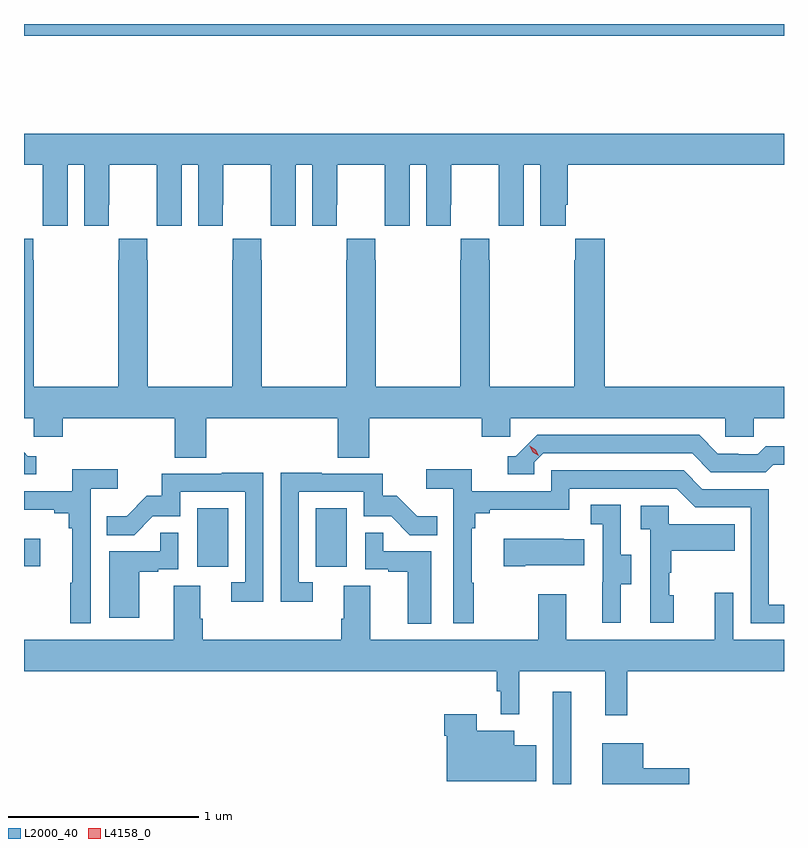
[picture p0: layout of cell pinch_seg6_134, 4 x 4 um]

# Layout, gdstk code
import gdstk
lib = gdstk.Library(unit=1e-6, precision=1e-09)
def R(c, l, rs):  # rectangles x0, y0, x1, y1
    for r in rs: c.add(gdstk.rectangle(r[:2], r[2:], *l))
def P(c, l, *ps):  # polygons
    for p in ps: c.add(gdstk.Polygon(p, *l))
L2000_40 = (2000, 40)
L4158_0 = (4158, 0)

pinch_seg6_134 = lib.new_cell('pinch_seg6_134')
R(pinch_seg6_134, L2000_40, [(953.559,930.758,953.656,931.243), (951.686,931.902,951.85,932.209), (952.31,931.902,952.474,932.209), (950.775,931.903,950.86,932.05), (950.775,934.696,954.775,934.758)])
P(pinch_seg6_134, L2000_40, [(950.775,934.016),(950.873,934.016),(950.873,933.808),(950.874,933.808),(950.874,933.696),(951.004,933.696),(951.004,934.016),(951.092,934.016),(951.092,933.696),(951.222,933.696),(951.222,933.808),(951.223,933.808),(951.223,934.016),(951.473,934.016),(951.473,933.808),(951.474,933.808),(951.474,933.696),(951.604,933.696),(951.604,934.016),(951.692,934.016),(951.692,933.696),(951.822,933.696),(951.822,933.808),(951.823,933.808),(951.823,934.016),(952.073,934.016),(952.073,933.808),(952.074,933.808),(952.074,933.696),(952.204,933.696),(952.204,934.016),(952.292,934.016),(952.292,933.696),(952.422,933.696),(952.422,933.808),(952.423,933.808),(952.423,934.016),(952.673,934.016),(952.673,933.808),(952.674,933.808),(952.674,933.696),(952.804,933.696),(952.804,934.016),(952.892,934.016),(952.892,933.696),(953.022,933.696),(953.022,933.808),(953.023,933.808),(953.023,934.016),(953.273,934.016),(953.273,933.808),(953.274,933.808),(953.274,933.696),(953.404,933.696),(953.404,934.016),(953.492,934.016),(953.492,933.696),(953.626,933.696),(953.626,933.808),(953.636,933.808),(953.636,934.016),(954.775,934.016),(954.775,934.18),(950.775,934.18)],
  [(951.734,932.684),(952.427,932.684),(952.427,932.476),(952.592,932.476),(952.592,932.684),(953.183,932.684),(953.183,932.586),(953.334,932.586),(953.334,932.684),(954.465,932.684),(954.465,932.586),(954.615,932.586),(954.615,932.684),(954.775,932.684),(954.775,932.848),(953.831,932.848),(953.831,933.628),(953.677,933.628),(953.677,933.515),(953.671,933.515),(953.671,932.848),(953.226,932.848),(953.226,933.515),(953.223,933.515),(953.223,933.628),(953.073,933.628),(953.073,933.515),(953.071,933.515),(953.071,932.848),(952.626,932.848),(952.626,933.515),(952.623,933.515),(952.623,933.628),(952.473,933.628),(952.473,933.515),(952.471,933.515),(952.471,932.848),(952.026,932.848),(952.026,933.515),(952.023,933.515),(952.023,933.628),(951.873,933.628),(951.873,933.515),(951.871,933.515),(951.871,932.848),(951.426,932.848),(951.426,933.515),(951.423,933.515),(951.423,933.628),(951.273,933.628),(951.273,933.515),(951.271,933.515),(951.271,932.848),(950.826,932.848),(950.826,933.515),(950.823,933.515),(950.823,933.628),(950.775,933.628),(950.775,932.684),(950.826,932.684),(950.826,932.586),(950.978,932.586),(950.978,932.684),(951.569,932.684),(951.569,932.476),(951.734,932.476)],
  [(953.46,932.451),(953.508,932.499),(954.291,932.499),(954.39,932.4),(954.679,932.4),(954.718,932.439),(954.775,932.439),(954.775,932.536),(954.679,932.536),(954.637,932.493),(954.534,932.493),(954.534,932.496),(954.427,932.496),(954.328,932.595),(953.475,932.595),(953.364,932.484),(953.321,932.484),(953.321,932.388),(953.46,932.388)],
  [(950.839,932.484),(950.796,932.484),(950.775,932.505),(950.775,932.388),(950.839,932.388)],
  [(953.143,931.817),(953.131,931.817),(953.131,932.105),(953.15,932.105),(953.15,932.182),(953.227,932.182),(953.227,932.201),(953.646,932.201),(953.646,932.313),(954.21,932.313),(954.309,932.214),(954.6,932.214),(954.6,931.605),(954.775,931.605),(954.775,931.701),(954.696,931.701),(954.696,932.31),(954.346,932.31),(954.247,932.409),(953.55,932.409),(953.55,932.298),(953.132,932.298),(953.132,932.414),(952.893,932.414),(952.893,932.312),(953.034,932.312),(953.034,931.605),(953.143,931.605)],
  [(951.126,932.312),(951.268,932.312),(951.268,932.414),(951.029,932.414),(951.029,932.298),(950.775,932.298),(950.775,932.201),(950.933,932.201),(950.933,932.182),(951.01,932.182),(951.01,932.105),(951.029,932.105),(951.029,931.817),(951.018,931.817),(951.018,931.605),(951.126,931.605)],
  [(952.035,932.396),(951.817,932.396),(951.817,932.391),(951.499,932.391),(951.499,932.274),(951.422,932.274),(951.315,932.167),(951.211,932.167),(951.211,932.068),(951.355,932.068),(951.453,932.166),(951.597,932.166),(951.597,932.295),(951.939,932.295),(951.939,931.821),(951.867,931.821),(951.867,931.716),(952.035,931.716)],
  [(952.294,931.821),(952.221,931.821),(952.221,932.295),(952.563,932.295),(952.563,932.166),(952.708,932.166),(952.806,932.068),(952.949,932.068),(952.949,932.167),(952.845,932.167),(952.738,932.274),(952.662,932.274),(952.662,932.391),(952.343,932.391),(952.343,932.396),(952.125,932.396),(952.125,931.716),(952.294,931.716)],
  [(953.917,931.81),(953.971,931.81),(953.971,931.965),(953.916,931.965),(953.916,932.228),(953.757,932.228),(953.757,932.125),(953.82,932.125),(953.82,931.821),(953.819,931.821),(953.819,931.608),(953.917,931.608)],
  [(954.196,931.752),(954.171,931.752),(954.171,931.871),(954.181,931.871),(954.181,931.985),(954.515,931.985),(954.515,932.125),(954.168,932.125),(954.168,932.223),(954.021,932.223),(954.021,932.099),(954.072,932.099),(954.072,931.608),(954.196,931.608)],
  [(952.918,931.983),(952.667,931.983),(952.667,932.081),(952.572,932.081),(952.572,931.887),(952.693,931.887),(952.693,931.875),(952.796,931.875),(952.796,931.601),(952.918,931.601)],
  [(951.382,931.875),(951.482,931.875),(951.482,931.887),(951.588,931.887),(951.588,932.081),(951.493,932.081),(951.493,931.983),(951.224,931.983),(951.224,931.632),(951.382,931.632)],
  [(953.413,931.91),(953.723,931.91),(953.723,932.047),(953.615,932.047),(953.615,932.05),(953.301,932.05),(953.301,931.903),(953.413,931.903)],
  [(953.951,931.352),(954.775,931.352),(954.775,931.516),(954.507,931.516),(954.507,931.765),(954.41,931.765),(954.41,931.516),(953.629,931.516),(953.629,931.756),(953.482,931.756),(953.482,931.516),(952.597,931.516),(952.597,931.802),(952.457,931.802),(952.457,931.628),(952.445,931.628),(952.445,931.516),(951.716,931.516),(951.716,931.628),(951.703,931.628),(951.703,931.802),(951.563,931.802),(951.563,931.516),(950.775,931.516),(950.775,931.352),(953.263,931.352),(953.263,931.245),(953.283,931.245),(953.283,931.124),(953.381,931.124),(953.381,931.352),(953.834,931.352),(953.834,931.119),(953.951,931.119)],
  [(953.47,930.961),(953.356,930.961),(953.356,931.039),(953.158,931.039),(953.158,931.126),(952.988,931.126),(952.988,931.013),(953,931.013),(953,930.773),(953.47,930.773)],
  [(954.277,930.842),(954.034,930.842),(954.034,930.973),(953.819,930.973),(953.819,930.758),(954.277,930.758)])
P(pinch_seg6_134, L4158_0, [(953.484,932.485),(953.453,932.504),(953.436,932.537),(953.436,932.537),(953.437,932.537),(953.468,932.518),(953.484,932.485),(953.484,932.485)])

lib.write_gds('pinch_seg6_134.gds')
